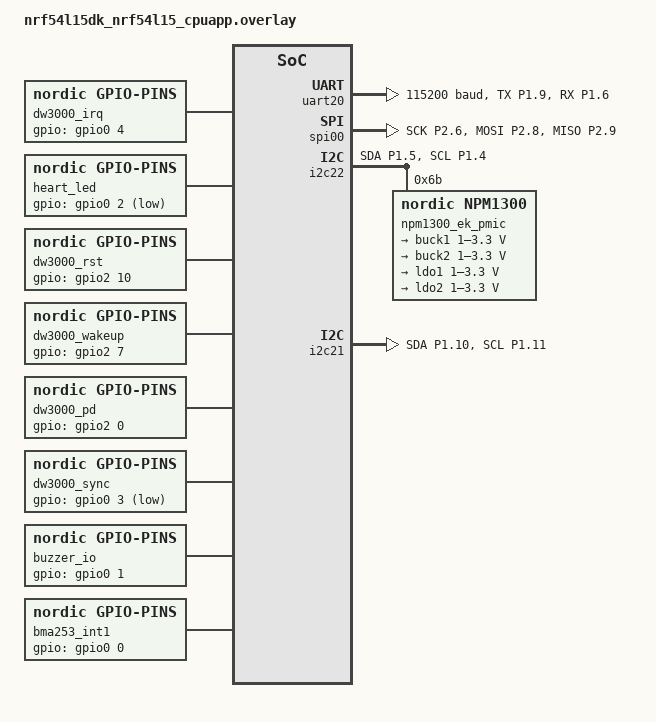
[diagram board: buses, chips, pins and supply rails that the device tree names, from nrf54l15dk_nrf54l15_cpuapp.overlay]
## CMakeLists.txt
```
#
# Copyright (c) 2018 Nordic Semiconductor
#
# SPDX-License-Identifier: LicenseRef-Nordic-5-Clause
#
cmake_minimum_required(VERSION 3.20.0)

find_package(Zephyr REQUIRED HINTS $ENV{ZEPHYR_BASE})
project(peripheral_54L15)

target_include_directories(app PRIVATE src)
target_include_directories(app PRIVATE src/nfc)
target_include_directories(app PRIVATE src/sensor)
target_include_directories(app PRIVATE src/config)
target_include_directories(app PRIVATE src/led)
target_include_directories(app PRIVATE src/lib)
target_include_directories(app PRIVATE src/uarts)
target_include_directories(app PRIVATE src/dwt/dw3000)
target_include_directories(app PRIVATE src/dwt/dw3000/decadriver)
target_include_directories(app PRIVATE src/dwt/dw3000_hw)
target_include_directories(app PRIVATE src/dwt/dw3000_node)
target_include_directories(app PRIVATE src/dwt/shared_data)
target_include_directories(app PRIVATE src/dwt/platform)
target_include_directories(app PRIVATE src/bms_driver)
target_include_directories(app PRIVATE src/imu_driver)
target_include_directories(app PRIVATE src/power_mgr)
# NORDIC SDK APP START
target_sources(app PRIVATE
  src/main.c
  src/nfc/nfc_config_tag.c
  src/led/ws2811_gpio.c
  src/led/ledlight.c
  src/lib/qmath.c
  src/dwt/dw3000/deca_rsl.c
  src/dwt/dw3000/deca_interface.c
  src/dwt/dw3000/decadriver/dw3000_device.c
  src/dwt/dw3000_hw/deca_compat.c
  src/dwt/dw3000_hw/dw3000_spi.c
  src/dwt/dw3000_hw/dw3000_hw.c
  src/dwt/dw3000_hw/deca_port.c
  src/dwt/dw3000_hw/dw3000_spi_trace.c
  src/dwt/dw3000_node/dw3000_node.c
  src/dwt/platform/config_options.c
  src/dwt/shared_data/shared_functions.c
  src/config/config.c
  src/bms_driver/fuel_gauge.c
  src/imu_driver/bma253_i2c_driver.c
  src/imu_driver/bma253_example.c
  src/buzzer/buzzer.c
  src/power_mgr/power_mgr.c
)

# NORDIC SDK APP END
```

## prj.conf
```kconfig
#
# Copyright (c) 2018 Nordic Semiconductor
#
# SPDX-License-Identifier: LicenseRef-Nordic-5-Clause
#

# Enable the UART driver
# CONFIG_UART_ASYNC_API=y
# CONFIG_NRFX_UARTE=y
CONFIG_SERIAL=y

CONFIG_GPIO=y

# Make sure printk is printing to the UART console
CONFIG_CONSOLE=y
CONFIG_UART_CONSOLE=y

CONFIG_HEAP_MEM_POOL_SIZE=2048
CONFIG_MAIN_STACK_SIZE=4096

CONFIG_FLASH=y
CONFIG_FLASH_PAGE_LAYOUT=y
CONFIG_FLASH_MAP=y

# Enable DK LED and Buttons library
# CONFIG_DK_LIBRARY=y

CONFIG_SYSTEM_WORKQUEUE_STACK_SIZE=4096
# Config logger
# CONFIG_LOG=y
# CONFIG_USE_SEGGER_RTT=y
# CONFIG_LOG_BACKEND_RTT=y
# CONFIG_LOG_BACKEND_UART=n
# CONFIG_LOG_PRINTK=n

CONFIG_ASSERT=y

CONFIG_PWM=y
CONFIG_NRFX_PWM=y
CONFIG_DMA=y
CONFIG_SPI=y
CONFIG_REBOOT=y
CONFIG_CBPRINTF_FP_SUPPORT=y

CONFIG_RETENTION=y
CONFIG_RETAINED_MEM=y
CONFIG_RETAINED_MEM_ZEPHYR_RAM=y
CONFIG_RETENTION=y
CONFIG_RETENTION_BOOT_MODE=y

CONFIG_I2C=y
CONFIG_NRF_FUEL_GAUGE=y
CONFIG_NRF_FUEL_GAUGE_VARIANT_SECONDARY_CELL=y
CONFIG_SENSOR=y
CONFIG_I2C_SHELL=y
CONFIG_REGULATOR=y 
# CONFIG_NPM13XX_REGULATOR=y
CONFIG_MFD=y
CONFIG_MFD_NPM13XX=y
CONFIG_REGULATOR_NPM13XX=y

# NFC Type 4 writable tag and chip-unique device ID.
CONFIG_NFC_T4T_NRFXLIB=y
CONFIG_HWINFO=y

# 确保 printk 输出到控制台
CONFIG_PRINTK=y
CONFIG_STDOUT_CONSOLE=y

CONFIG_APP_NFC_CONFIG_PIN="12345678"
```

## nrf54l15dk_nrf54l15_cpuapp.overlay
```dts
#include <zephyr/dt-bindings/regulator/npm13xx.h>
#include <zephyr/dt-bindings/input/input-event-codes.h>

/ {
	/delete-node/ leds;
	/delete-node/ buttons;
	/delete-node/ pwmleds;

	aliases{
		/delete-property/ led0;
		/delete-property/ led1;
		/delete-property/ led2;
		/delete-property/ led3;
		/delete-property/ sw0;
		/delete-property/ sw1;
		/delete-property/ sw2;
		/delete-property/ sw3;
		/delete-property/ pwm-led0;
		/delete-property/ mcuboot-button0;
		/delete-property/ mcuboot-led0;
	};

	nordic_expansion_header: nordic_expansion_header {
		/delete-property/ gpio-map-mask;
		/delete-property/ gpio-map-pass-thru;
		/delete-property/ gpio-map;
		/delete-property/ compatible;
		/delete-property/ #gpio-cells;
		status = "disabled";
	};

	chosen {
		zephyr,console = &uart20;
		zephyr,shell-uart = &uart20;
	};

	dw3000_irq: dw3000-irq {
		compatible = "nordic,gpio-pins";
		gpios = <&gpio0 4 GPIO_ACTIVE_HIGH>;
		status = "okay";
	};

	heart_led: heart-led {
		compatible = "nordic,gpio-pins";
		gpios = <&gpio0 2 GPIO_ACTIVE_LOW>;
		status = "okay";
	};
	dw3000_rst: dw3000-rst {
		compatible = "nordic,gpio-pins";
		gpios = <&gpio2 10 GPIO_ACTIVE_HIGH>;
		status = "okay";
	};

	dw3000_wakeup: dw3000-wakeup {
		compatible = "nordic,gpio-pins";
		gpios = <&gpio2 7 GPIO_ACTIVE_HIGH>;
		status = "okay";
	};
	dw3000_pd: dw3000-pd {
		compatible = "nordic,gpio-pins";
		gpios = <&gpio2 0 GPIO_ACTIVE_HIGH>;
		status = "okay";
	};

	dw3000_sync: dw3000-sync {
		compatible = "nordic,gpio-pins";
		gpios = <&gpio0 3 GPIO_ACTIVE_LOW>;
		status = "okay";
	};

	buzzer_io: buzzer-io {
		compatible = "nordic,gpio-pins";
		gpios = <&gpio0 1 GPIO_ACTIVE_HIGH>;
		status = "okay";
	};

	/*
	 * BMA253 运动检测中断 INT1 -> nRF54L15 的 P0.00
	 *
	 * BMA253 侧已配置为「高有效 + 推挽输出」
	 * (CTRL_REG5 的 H_LACTIVE=0、INT_PP_OD=0)，所以这里用
	 * GPIO_ACTIVE_HIGH。
	 *
	 * 注意：Zephyr 的 GPIO 中断不支持内部下拉，所以引脚不能悬空。
	 * BMA253 是推挽输出会主动驱动高/低，正常连接下不悬空；
	 * 如果误触发严重，可在 P0.00 上加一个外部下拉（10k 到 GND）。
	 *
	 * ⚠ P0.00 的 RESET 复用：
	 *   nRF54L15 的 nRESET 默认就是 P0.00。Zephyr 里它由 UICR 的
	 *   gpio-as-nreset 属性决定（整个 NCS 里没有任何 nRF54L 板子设置
	 *   它，所以默认不启用，P0.00 可作普通 GPIO）。
	 *   若发现中断不响应、或一给低电平就复位，请检查 UICR：
	 *       nrfjprog --memrd 0x00FFD000
	 *   确认没有被配置成复位引脚；必要时整片擦除（--eraseall）后重烧，
	 *   或显式声明：
	 *       &uicr { gpio-as-nreset; };   // 只在确实需要 nRESET 时
	 */
	bma253_int1: bma253-int1 {
		compatible = "nordic,gpio-pins";
		gpios = <&gpio0 0 GPIO_ACTIVE_HIGH>;
		status = "okay";
	};
};

&pinctrl{
	/omit-if-no-ref/ uart21_only_default: uart21_only_default {
		group1 {
			psels = <NRF_PSEL(UART_TX, 1, 12)>;
		};
		group2 {
			psels = <NRF_PSEL(UART_RX, 1, 13)>;
			bias-pull-up;
		};
	};
	/omit-if-no-ref/ uart21_only_sleep: uart21_only_sleep {
		group1 {
			psels = <NRF_PSEL(UART_TX, 1, 12)>,
					<NRF_PSEL(UART_RX, 1, 13)>;
			low-power-enable;
		};
	};
	/omit-if-no-ref/ uart20_only_default: uart20_only_default {
		group1 {
			psels = <NRF_PSEL(UART_TX, 1, 9)>,
                    		<NRF_PSEL(UART_RX, 1, 6)>;
		};
	};
	/omit-if-no-ref/ uart20_only_sleep: uart20_only_sleep {
		group1 {
			psels = <NRF_PSEL(UART_TX, 1, 9)>,
                    		<NRF_PSEL(UART_RX, 1, 6)>;
			bias-pull-up;
			low-power-enable;
		};
	};

	/omit-if-no-ref/ spi00_default: spi00_default {
		group1 {
			psels = <NRF_PSEL(SPIM_SCK, 2, 6)>,
					<NRF_PSEL(SPIM_MOSI, 2, 8)>,
					<NRF_PSEL(SPIM_MISO, 2, 9)>;
		};
	};

	/omit-if-no-ref/ spi00_sleep: spi00_sleep {
		group1 {
			psels = <NRF_PSEL(SPIM_SCK, 2, 6)>,
					<NRF_PSEL(SPIM_MOSI, 2, 8)>,
					<NRF_PSEL(SPIM_MISO, 2, 9)>;
			low-power-enable;
		};
	};
	/omit-if-no-ref/ i2c22_default: i2c22_default {
		group1 {
			psels = <NRF_PSEL(TWIM_SDA, 1, 5)>,
					<NRF_PSEL(TWIM_SCL, 1, 4)>;
		};
	};
	/omit-if-no-ref/ i2c22_sleep: i2c22_sleep {
		group1 {
			psels = <NRF_PSEL(TWIM_SDA, 1, 5)>,
					<NRF_PSEL(TWIM_SCL, 1, 4)>;
			low-power-enable;
		};
	};
	/omit-if-no-ref/ i2c21_default: i2c21_default {
		group1 {
			psels = <NRF_PSEL(TWIM_SDA, 1, 10)>,
					<NRF_PSEL(TWIM_SCL, 1, 11)>;
		};
	};
	/omit-if-no-ref/ i2c21_sleep: i2c21_sleep {
		group1 {
			psels = <NRF_PSEL(TWIM_SDA, 1, 10)>,
					<NRF_PSEL(TWIM_SCL, 1, 11)>;
			low-power-enable;
		};
	};
};

&uart21 {
	current-speed = <115200>;
	pinctrl-0 = <&uart21_only_default>;
	pinctrl-1 = <&uart21_only_sleep>;
	pinctrl-names = "default", "sleep";
	status = "disabled";
};

&uart20 {
	current-speed = <115200>;
	pinctrl-0 = <&uart20_only_default>;
	pinctrl-1 = <&uart20_only_sleep>;
	pinctrl-names = "default", "sleep";
	status = "okay";
};

&pwm20{
	/delete-property/ pinctrl-0;
	/delete-property/ pinctrl-1;
	/delete-property/ pinctrl-names;
	status = "disabled";
};

&uicr {
	nfct-pins-as-gpios;
};

&nfct {
	status = "disabled";
};

&adc {
	status = "disabled";
};

nordic_expansion_spi: &spi22 {
	status = "disabled";
};

&lfxo {
	load-capacitors = "external";
	load-capacitance-femtofarad = <12000>;
};

&spi00 {
	status = "okay";
	cs-gpios = <&gpio2 5 GPIO_ACTIVE_HIGH>;
	pinctrl-0 = <&spi00_default>;
	pinctrl-1 = <&spi00_sleep>;
	pinctrl-names = "default", "sleep";

	/delete-node/ mx25r6435f@0;
};

i2c_npm13xx: &i2c22 {
	status = "okay";
	pinctrl-0 = <&i2c22_default>;
	pinctrl-1 = <&i2c22_sleep>;
	pinctrl-names = "default", "sleep";
};

i2c_bma253: &i2c21 {
	status = "okay";
	pinctrl-0 = <&i2c21_default>;
	pinctrl-1 = <&i2c21_sleep>;
	pinctrl-names = "default", "sleep";
};


&i2c_npm13xx {
	npm1300_ek_pmic: pmic@6b {
		compatible = "nordic,npm1300";
		reg = <0x6b>;

		/* host-int-gpios = <&gpio0 4 0>;
		pmic-int-pin = <3>; */

		ship-to-active-time-ms = <96>;
		long-press-reset = "one-button";
		npm1300_gpio: gpio-controller {
			compatible = "nordic,npm1300-gpio";
			gpio-controller;
			#gpio-cells = <2>;
			ngpios = <5>;
		};

		npm1300_ek_charger: charger {
			compatible = "nordic,npm1300-charger";
			vbus-limit-microamp = <1500000>;

			thermistor-ohms = <10000>;
			thermistor-beta = <3380>;
			trickle-microvolt = <2500000>;

			/*
			 * 【关键】必须显式写 charging-enable。
			 * 它是布尔属性、没有 default，驱动里是
			 *     if (config->charging_enable) {
			 *             ... CHGR_OFFSET_EN_SET = 1 ...
			 *     }
			 * 不写 => 从不置 EN_SET 位 => 充电永不启动。
			 */
			charging-enable;

			/*
			 * 允许在低于 vbatlow 阈值时也充电。
			 * 没有这一条时，电池电压很低（本机读数 ~2.95V）会被拒绝充电。
			 */
			vbatlow-charge-enable;

			/*
			 * 不要写 disable-recharge：它禁止充满后的自动再充电，
			 * 会让电池掉电后无法回充。
			 */

			dietemp-resume-millidegrees = <100000>;
			dietemp-stop-millidegrees = <110000>;

			/* 单节 Li-ion 满充 4.2V；官方参考用 4.15V。
			 * 原来的 3.5V 太低，电池几乎充不进电。 */
			term-microvolt = <4150000>;
			term-warm-microvolt = <4000000>;

			current-microamp = <800000>;
			dischg-limit-microamp = <1000000>;

			/* 充满判定电流 = current-microamp 的百分比。
			 * 绑定里是枚举 10 或 20，默认 10。 */
			term-current-percent = <10>;
		};

		npm1300_ek_leds: leds {
			compatible = "nordic,npm1300-led";
			nordic,led0-mode = "error";
			nordic,led1-mode = "charging";
			nordic,led2-mode = "host";
		};

		regulators {
			compatible = "nordic,npm1300-regulator";
			buck1: BUCK1 {
				status = "okay";
				regulator-boot-on;
				regulator-init-microvolt = <3300000>;
				regulator-min-microvolt = <1000000>;
				regulator-max-microvolt = <3300000>;
				regulator-initial-mode = <NPM13XX_BUCK_MODE_AUTO>;
			};
			buck2: BUCK2 {
				status = "okay";
				regulator-boot-on;
				regulator-init-microvolt = <3300000>;
				regulator-min-microvolt = <1000000>;
				regulator-max-microvolt = <3300000>;
				regulator-initial-mode = <NPM13XX_BUCK_MODE_AUTO>;
			};
			ldo1: LDO1 {
				regulator-min-microvolt = <1000000>;
       				regulator-max-microvolt = <3300000>;
				regulator-initial-mode = <NPM13XX_LDSW_MODE_LDSW>;
				soft-start-microamp = <100000>;
			};
			ldo2: LDO2 {
				regulator-min-microvolt = <1000000>;
        			regulator-max-microvolt = <3300000>;
				regulator-initial-mode = <NPM13XX_LDSW_MODE_LDSW>;
				soft-start-microamp = <100000>;
			};
		};
	};
};
```

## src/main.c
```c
/*
 * Copyright (c) 2018 Nordic Semiconductor ASA
 *
 * SPDX-License-Identifier: LicenseRef-Nordic-5-Clause
 */

/** @file
 *  @brief Nordic UART Bridge Service (NUS) sample
 */


#include <zephyr/types.h>
#include <soc.h>
#include <zephyr/bluetooth/bluetooth.h>

#include <zephyr/settings/settings.h>

#include <stdio.h>
#include <string.h>

#include "dw3000_node.h"
#include "ledlight.h"

#include "config.h"

#include <zephyr/kernel.h>
#include <zephyr/device.h>
#include <zephyr/drivers/gpio.h>
#include <zephyr/drivers/mfd/npm13xx.h>
#include <zephyr/drivers/sensor.h>
#include <zephyr/settings/settings.h>
#include <zephyr/sys/printk.h>
#include "fuel_gauge.h"
#include <zephyr/drivers/uart.h>
#include "imu_driver/bma253_example.h"
#include "buzzer/buzzer.h"
#include "power_mgr/power_mgr.h"


#if DT_NODE_EXISTS(DT_NODELABEL(npm1300_ek_pmic))
#define NPM13XX_DEVICE(dev) DEVICE_DT_GET(DT_NODELABEL(npm1300_ek_##dev))
#elif DT_NODE_EXISTS(DT_NODELABEL(npm1304_ek_pmic))
#define NPM13XX_DEVICE(dev) DEVICE_DT_GET(DT_NODELABEL(npm1304_ek_##dev))
#else
#error "neither npm1300 nor npm1304 found in devicetree"
#endif

static const struct device *pmic = NPM13XX_DEVICE(pmic);
static const struct device *charger = NPM13XX_DEVICE(charger);
static volatile bool vbus_connected;

static void event_callback(const struct device *dev, struct gpio_callback *cb, uint32_t pins)
{
	if (pins & BIT(NPM13XX_EVENT_VBUS_DETECTED)) {
		printk("Vbus connected\n");
		vbus_connected = true;
	}

	if (pins & BIT(NPM13XX_EVENT_VBUS_REMOVED)) {
		printk("Vbus removed\n");
		vbus_connected = false;
	}
}

void error(void)
{
	while (true) {
		/* Spin for ever */
		k_sleep(K_MSEC(1000));
	}
}

int bms_init(void)
{
	int err;

	if (!device_is_ready(pmic)) {
		printk("Pmic device not ready.\n");
		return 0;
	}

	if (!device_is_ready(charger)) {
		printk("Charger device not ready.\n");
		return 0;
	}

	if (fuel_gauge_init(charger) < 0) {
		printk("Could not initialise fuel gauge.\n");
		return 0;
	}

	static struct gpio_callback event_cb;

	gpio_init_callback(&event_cb, event_callback,
			   BIT(NPM13XX_EVENT_VBUS_DETECTED) | BIT(NPM13XX_EVENT_VBUS_REMOVED));

	err = mfd_npm13xx_add_callback(pmic, &event_cb);
	if (err) {
		printk("Failed to add pmic callback.\n");
		return 0;
	}

	/* Initialise vbus detection status. */
	struct sensor_value val;
	int ret = sensor_attr_get(charger, SENSOR_CHAN_CURRENT, SENSOR_ATTR_UPPER_THRESH, &val);

	if (ret < 0) {
		return false;
	}

	vbus_connected = (val.val1 != 0) || (val.val2 != 0);

	/* 【诊断】直接读"期望充电电流"属性：驱动返回的是 CHGR 的
	 * EN_SET 寄存器（CHGR_BASE+0x04）。它 != 0 才说明充电被使能。
	 * 若此处读到 0，就是 charging-enable 没生效。 */
	{
		struct sensor_value chg_en;

		if (sensor_attr_get(charger, SENSOR_CHAN_GAUGE_DESIRED_CHARGING_CURRENT,
				    SENSOR_ATTR_CONFIGURATION, &chg_en) == 0) {
			printk("充电使能位 CHGR EN_SET = 0x%02X (%s)\n",
			       (unsigned)chg_en.val1,
			       (chg_en.val1 != 0) ? "已使能" : ">>> 未使能 <<<");
		}
	}

	printk("PMIC device ok (VBUS %s)\n", vbus_connected ? "已接入" : "未接入");
#if 0
	while (1) {
		fuel_gauge_update(charger, vbus_connected);
		k_msleep(100);
	}
#endif
	return 0;
}


int main(void)
{
	printf("Starting signal convert v4 app...\n");

	int err = 0;
	uint64_t last_print_time = 0;

	bms_init();
	nrfConfigInit();
	LedLightInit();
	// RS485_deal_init();
	// Zigbee_deal_init();

	/* 低功耗状态机：管理 BUCK2(UWB) 上下电与 ship mode。
	 * 注意：UWB 不再在这里常开，改由运动检测触发上电。 */
	power_mgr_init();

#if 0
	
	nus_security_init();
	err = bt_enable(NULL);
	if (err) {
		error();
	}

	printk("[%s %d]Bluetooth initialized\n", __func__, __LINE__);

	if (IS_ENABLED(CONFIG_SETTINGS)) {
		settings_load();
	}
	

	err = nus_peripheral_init();
	if (err) {
		printk("[%s %d]Failed to initialize peripheral (err: %d)\n", __func__, __LINE__, err);
		return 0;
	}

	err = nus1_central_init();
	if (err) {
		printk("[%s %d]Failed to initialize central service (err: %d)\n", __func__, __LINE__, err);
		return 0;
	}

	bt_central_scan_init();
	bt_centralscan_start();
#endif
	
	bma253_example_init();

	buzzer_init();

	for (;;) {
		if (k_uptime_get() - last_print_time > 5000) {
			last_print_time = k_uptime_get();
			fuel_gauge_update(charger, vbus_connected);
			bma253_example_poll();
		}
		Function_of_indicator_lights();

		/* 低功耗状态机：只判断 30s 深度休眠（进 ship mode）。
		 * 10s 活动窗口由 power_mgr 内部的 k_timer 精确计时，
		 * 不依赖这个循环的调用频率。 */
		power_mgr_sleep_check();

		/* 只在「运动触发的 10s 活动窗口」内才发送 UWB 轮询。
		 * 窗口外 UWB 已进入低功耗，调用它没有意义。 */
		if (power_mgr_uwb_is_active()) {
			dw1000_sendpoll();
		}

		k_msleep(100);
	}
}
```
